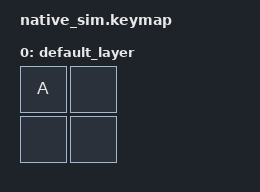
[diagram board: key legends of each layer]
#include <behaviors.dtsi>
#include <dt-bindings/zmk/keys.h>
#include <dt-bindings/zmk/kscan_mock.h>

/ {
    keymap {
        compatible = "zmk,keymap";

        default_layer {
            bindings = <
                &kp A &none
                &none &none
            >;
        };
    };
};

&kscan {
    /delete-property/ exit-after;
    events = <
        ZMK_MOCK_PRESS(0,0,5000)
        ZMK_MOCK_RELEASE(0,0,10)
    >;
};
